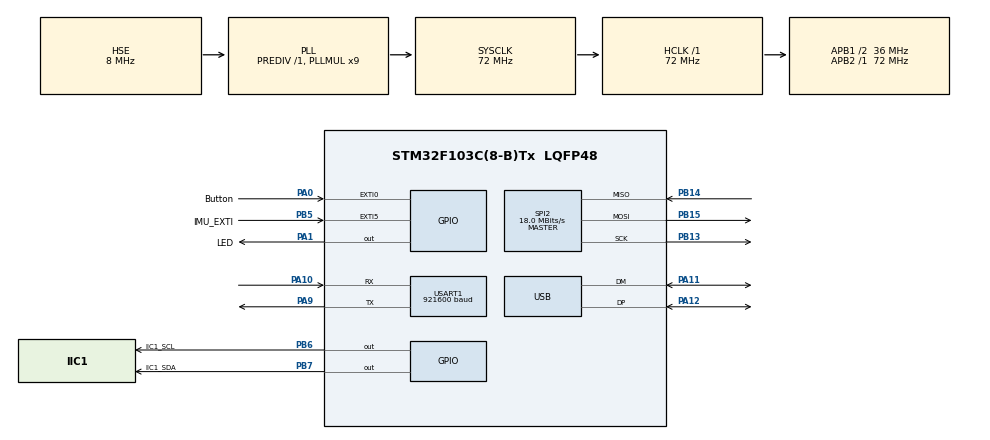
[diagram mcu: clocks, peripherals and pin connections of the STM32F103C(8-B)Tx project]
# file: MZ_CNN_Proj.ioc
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Mcu.Family=STM32F1
Mcu.Name=STM32F103C(8-B)Tx
Mcu.Package=LQFP48
NVIC.EXTI0_IRQn=true\:2\:0\:true\:false\:true\:true\:true\:true
NVIC.EXTI9_5_IRQn=true\:1\:0\:true\:false\:true\:true\:true\:true
NVIC.PriorityGroup=NVIC_PRIORITYGROUP_4
NVIC.SPI2_IRQn=true\:0\:0\:false\:false\:true\:true\:true\:true
NVIC.USART1_IRQn=true\:1\:0\:true\:false\:true\:true\:true\:true
NVIC.USB_LP_CAN1_RX0_IRQn=true\:0\:0\:false\:false\:true\:false\:true\:true
PA0-WKUP.GPIO_Label=Button
PA0-WKUP.GPIO_ModeDefaultEXTI=GPIO_MODE_IT_RISING_FALLING
PA0-WKUP.GPIO_PuPd=GPIO_NOPULL
PA0-WKUP.Signal=GPXTI0
PA1.GPIO_Label=LED
PA1.GPIO_PuPd=GPIO_PULLUP
PA1.Signal=GPIO_Output
PA10.Mode=Asynchronous
PA10.Signal=USART1_RX
PA11.Mode=Device
PA11.Signal=USB_DM
PA12.Mode=Device
PA12.Signal=USB_DP
PA13.Mode=Serial_Wire
PA13.Signal=SYS_JTMS-SWDIO
PA14.Mode=Serial_Wire
PA14.Signal=SYS_JTCK-SWCLK
PA9.Mode=Asynchronous
PA9.Signal=USART1_TX
PB12.Signal=SPI2_NSS
PB13.Mode=Full_Duplex_Master
PB13.Signal=SPI2_SCK
PB14.Mode=Full_Duplex_Master
PB14.Signal=SPI2_MISO
PB15.Mode=Full_Duplex_Master
PB15.Signal=SPI2_MOSI
PB5.GPIO_Label=IMU_EXTI
PB5.GPIO_ModeDefaultEXTI=GPIO_MODE_IT_FALLING
PB5.Signal=GPXTI5
PB6.GPIO_Label=IIC1_SCL
PB6.GPIO_ModeDefaultOutputPP=GPIO_MODE_OUTPUT_OD
PB6.GPIO_PuPd=GPIO_NOPULL
PB6.Signal=GPIO_Output
PB7.GPIO_Label=IIC1_SDA
PB7.GPIO_ModeDefaultOutputPP=GPIO_MODE_OUTPUT_OD
PB7.GPIO_PuPd=GPIO_NOPULL
PB7.Signal=GPIO_Output
PD0-OSC_IN.Mode=HSE-External-Oscillator
PD0-OSC_IN.Signal=RCC_OSC_IN
PD1-OSC_OUT.Mode=HSE-External-Oscillator
PD1-OSC_OUT.Signal=RCC_OSC_OUT
ProjectManager.HeapSize=0x200
ProjectManager.StackSize=0x400
ProjectManager.TargetToolchain=Makefile
RCC.AHBFreq_Value=72000000
RCC.APB1CLKDivider=RCC_HCLK_DIV2
RCC.APB1Freq_Value=36000000
RCC.APB1TimFreq_Value=72000000
RCC.APB2Freq_Value=72000000
RCC.APB2TimFreq_Value=72000000
RCC.HCLKFreq_Value=72000000
RCC.PLLMUL=RCC_PLL_MUL9
RCC.SYSCLKFreq_VALUE=72000000
RCC.SYSCLKSource=RCC_SYSCLKSOURCE_PLLCLK
RCC.USBFreq_Value=48000000
RCC.USBPrescaler=RCC_USBCLKSOURCE_PLL_DIV1_5
SPI2.CRCCalculation=SPI_CRCCALCULATION_ENABLE
SPI2.CRCPolynomial=X0+X1+X2
SPI2.CalculateBaudRate=18.0 MBits/s
SPI2.Direction=SPI_DIRECTION_2LINES
SPI2.Mode=SPI_MODE_MASTER
SPI2.VirtualType=VM_MASTER
USART1.BaudRate=921600
USART1.VirtualMode=VM_ASYNC
USB_DEVICE.CLASS_NAME_FS=HID
USB_DEVICE.VirtualMode=Hid
USB_DEVICE.VirtualModeFS=Hid_FS
VP_USB_DEVICE_VS_USB_DEVICE_HID_FS.Mode=HID_FS
board=custom

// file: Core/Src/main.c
/* USER CODE BEGIN Header */
/**
  ******************************************************************************
  * @file           : main.c
  * @brief          : Main program body
  ******************************************************************************
  * @attention
  *
  * Copyright (c) 2025 STMicroelectronics.
  * All rights reserved.
  *
  * This software is licensed under terms that can be found in the LICENSE file
  * in the root directory of this software component.
  * If no LICENSE file comes with this software, it is provided AS-IS.
  *
  ******************************************************************************
  */
/* USER CODE END Header */
#include "main.h"
#include "spi.h"
#include "usart.h"
#include "usb_device.h"
#include "gpio.h"

/* USER CODE BEGIN Includes */
#include "IMU_Task.h"
#include "LED_Task.h"
#include "BUTTON_Task.h"
#include "CNN_Task.h"
#include "vofa.h"
#include "LOG_Task.h"/* USER CODE END Includes */

void SystemClock_Config(void);

int main(void)
{

  /* MCU Configuration--------------------------------------------------------*/

  /* Reset of all peripherals, Initializes the Flash interface and the Systick. */
  HAL_Init();

  /* Configure the system clock */
  SystemClock_Config();

  /* Initialize all configured peripherals */
  MX_GPIO_Init();
  MX_USART1_UART_Init();
  MX_USB_DEVICE_Init();
  MX_SPI2_Init();
  /* USER CODE BEGIN 2 */
  IMU_create(&IMU_Handle);
  LED_Create(&Led_Handle);
  Button_Create(&Button_Handle);
  CNN_Create();
#ifdef SERIAL_DEBUG
  log_set_level(3);
  log_set_quiet(0);
#endif
  MZprint();
  /* USER CODE END 2 */

  /* Infinite loop */
    while (1)
    {

    /* USER CODE BEGIN 3 */

        if(IMU_Handle->attribute.status == IMU_Idle) {
            IMU_Handle->function.Sample_Start();
            //Led_Handle->function.BLINK(BLINK_5HZ);
            Led_Handle->function.Led_ON();
            while (IMU_Handle->attribute.status != IMU_Sampled);
#ifdef SERIAL_DEBUG
            log_debug("IMU sampling\r\n");
            Led_Handle->function.Led_OFF();
            int8_t ret = model_get_output();
            #ifdef PC_SHOW
                printf("%c\r\n", 48+ret);
            #endif
            HAL_Delay(800);     //按键失效，根据灯的亮灭操作
#endif

#ifdef SYSTEM_MODE_DATA_COLLECT
            HAL_Delay(200);  // 使用HAL库的延迟函数
            IMU_Handle->function.IMU_Data_Print();
#endif
        }
        IMU_Handle->attribute.status = IMU_Idle;
    }
  /* USER CODE END 3 */
}

void SystemClock_Config(void)
{
  RCC_OscInitTypeDef RCC_OscInitStruct = {0};
  RCC_ClkInitTypeDef RCC_ClkInitStruct = {0};
  RCC_PeriphCLKInitTypeDef PeriphClkInit = {0};

  /** Initializes the RCC Oscillators according to the specified parameters
  * in the RCC_OscInitTypeDef structure.
  */
  RCC_OscInitStruct.OscillatorType = RCC_OSCILLATORTYPE_HSE;
  RCC_OscInitStruct.HSEState = RCC_HSE_ON;
  RCC_OscInitStruct.HSEPredivValue = RCC_HSE_PREDIV_DIV1;
  RCC_OscInitStruct.HSIState = RCC_HSI_ON;
  RCC_OscInitStruct.PLL.PLLState = RCC_PLL_ON;
  RCC_OscInitStruct.PLL.PLLSource = RCC_PLLSOURCE_HSE;
  RCC_OscInitStruct.PLL.PLLMUL = RCC_PLL_MUL9;
  if (HAL_RCC_OscConfig(&RCC_OscInitStruct) != HAL_OK)
  {
    Error_Handler();
  }

  /** Initializes the CPU, AHB and APB buses clocks
  */
  RCC_ClkInitStruct.ClockType = RCC_CLOCKTYPE_HCLK|RCC_CLOCKTYPE_SYSCLK
                              |RCC_CLOCKTYPE_PCLK1|RCC_CLOCKTYPE_PCLK2;
  RCC_ClkInitStruct.SYSCLKSource = RCC_SYSCLKSOURCE_PLLCLK;
  RCC_ClkInitStruct.AHBCLKDivider = RCC_SYSCLK_DIV1;
  RCC_ClkInitStruct.APB1CLKDivider = RCC_HCLK_DIV2;
  RCC_ClkInitStruct.APB2CLKDivider = RCC_HCLK_DIV1;

  if (HAL_RCC_ClockConfig(&RCC_ClkInitStruct, FLASH_LATENCY_2) != HAL_OK)
  {
    Error_Handler();
  }
  PeriphClkInit.PeriphClockSelection = RCC_PERIPHCLK_USB;
  PeriphClkInit.UsbClockSelection = RCC_USBCLKSOURCE_PLL_DIV1_5;
  if (HAL_RCCEx_PeriphCLKConfig(&PeriphClkInit) != HAL_OK)
  {
    Error_Handler();
  }
}

void Error_Handler(void)
{
    __disable_irq();
    while (1)
    {
    }
}
